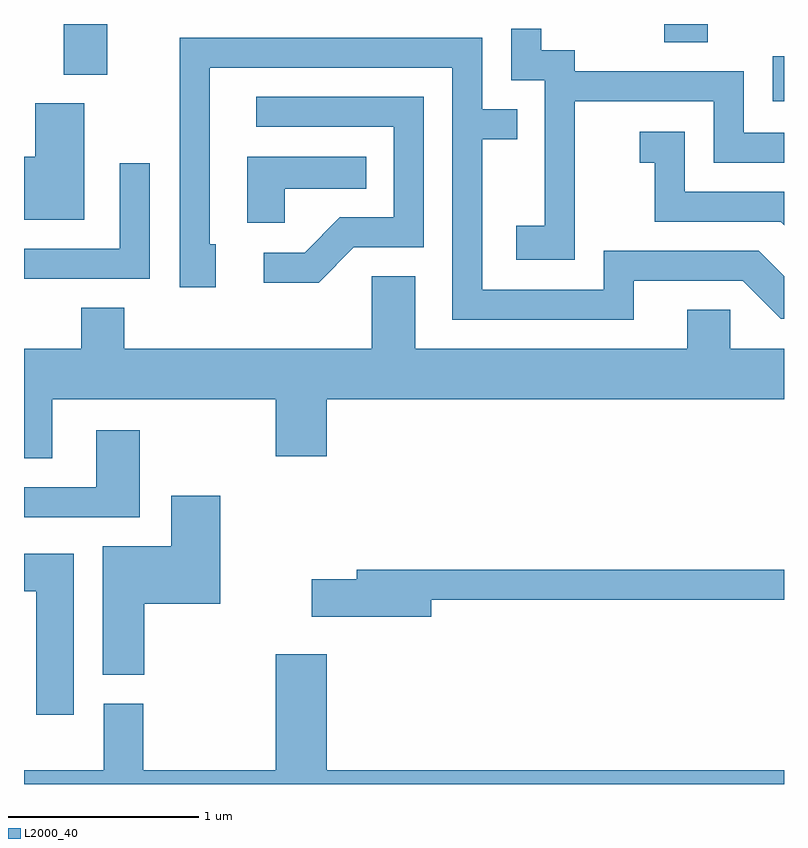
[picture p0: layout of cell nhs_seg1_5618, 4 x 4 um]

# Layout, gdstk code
import gdstk
lib = gdstk.Library(unit=1e-6, precision=1e-09)
def R(c, l, rs):  # rectangles x0, y0, x1, y1
    for r in rs: c.add(gdstk.rectangle(r[:2], r[2:], *l))
def P(c, l, *ps):  # polygons
    for p in ps: c.add(gdstk.Polygon(p, *l))
L2000_40 = (2000, 40)

nhs_seg1_5618 = lib.new_cell('nhs_seg1_5618')
R(nhs_seg1_5618, L2000_40, [(357.551,963.306,357.611,963.543), (353.821,963.446,354.049,963.712), (356.981,963.616,357.209,963.712)])
P(nhs_seg1_5618, L2000_40, [(356.509,963.306),(357.241,963.306),(357.241,962.981),(357.611,962.981),(357.611,963.139),(357.399,963.139),(357.399,963.464),(356.509,963.464),(356.509,963.574),(356.334,963.574),(356.334,963.688),(356.176,963.688),(356.176,963.416),(356.351,963.416),(356.351,962.649),(356.201,962.649),(356.201,962.471),(356.509,962.471)],
  [(356.819,962.361),(357.394,962.361),(357.594,962.161),(357.611,962.161),(357.611,962.385),(357.477,962.519),(356.661,962.519),(356.661,962.314),(356.024,962.314),(356.024,963.106),(356.208,963.106),(356.208,963.264),(356.024,963.264),(356.024,963.639),(354.431,963.639),(354.431,962.326),(354.619,962.326),(354.619,962.554),(354.589,962.554),(354.589,963.481),(355.866,963.481),(355.866,962.156),(356.819,962.156)],
  [(355.347,962.536),(355.714,962.536),(355.714,963.329),(354.833,963.329),(354.833,963.171),(355.556,963.171),(355.556,962.694),(355.274,962.694),(355.089,962.509),(354.873,962.509),(354.873,962.351),(355.162,962.351)],
  [(353.929,963.294),(353.671,963.294),(353.671,963.014),(353.611,963.014),(353.611,962.681),(353.929,962.681)],
  [(357.611,962.829),(357.089,962.829),(357.089,963.144),(356.853,963.144),(356.853,962.981),(356.931,962.981),(356.931,962.671),(357.594,962.671),(357.611,962.654)],
  [(354.984,962.846),(355.413,962.846),(355.413,963.014),(354.786,963.014),(354.786,962.666),(354.984,962.666)],
  [(354.274,962.978),(354.116,962.978),(354.116,962.529),(353.611,962.529),(353.611,962.371),(354.274,962.371)],
  [(353.759,961.736),(354.936,961.736),(354.936,961.436),(355.204,961.436),(355.204,961.736),(357.611,961.736),(357.611,962.004),(357.329,962.004),(357.329,962.209),(357.101,962.209),(357.101,962.004),(355.669,962.004),(355.669,962.384),(355.441,962.384),(355.441,962.004),(354.139,962.004),(354.139,962.219),(353.911,962.219),(353.911,962.004),(353.611,962.004),(353.611,961.426),(353.759,961.426)],
  [(354.219,961.574),(353.991,961.574),(353.991,961.274),(353.611,961.274),(353.611,961.116),(354.219,961.116)],
  [(354.244,960.661),(354.644,960.661),(354.644,961.229),(354.386,961.229),(354.386,960.964),(354.026,960.964),(354.026,960.286),(354.244,960.286)],
  [(353.874,960.924),(353.611,960.924),(353.611,960.726),(353.676,960.726),(353.676,960.076),(353.874,960.076)],
  [(355.754,960.681),(357.611,960.681),(357.611,960.839),(355.361,960.839),(355.361,960.789),(355.126,960.789),(355.126,960.591),(355.754,960.591)],
  [(357.611,959.784),(355.204,959.784),(355.204,960.394),(354.936,960.394),(354.936,959.784),(354.239,959.784),(354.239,960.134),(354.031,960.134),(354.031,959.784),(353.611,959.784),(353.611,959.712),(357.611,959.712)])

lib.write_gds('nhs_seg1_5618.gds')
